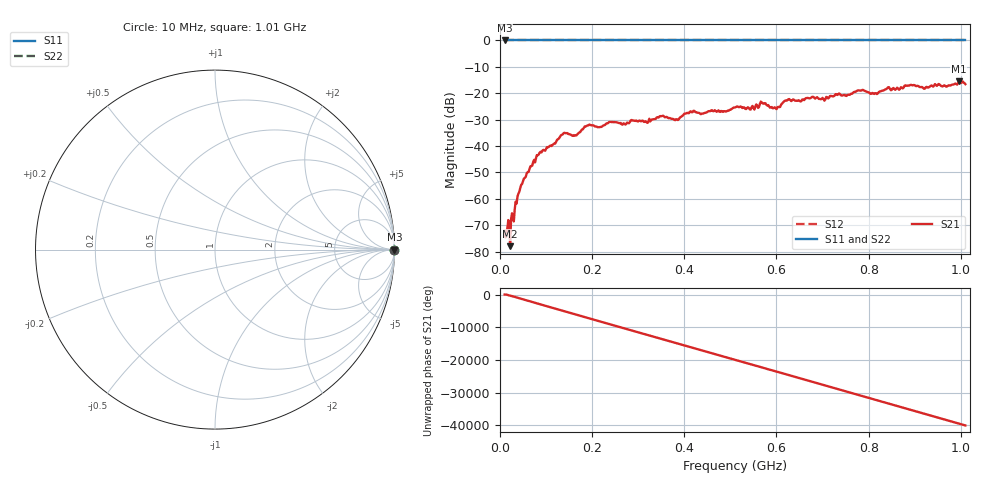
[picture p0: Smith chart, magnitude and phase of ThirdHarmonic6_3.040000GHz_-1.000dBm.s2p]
! 8/17/2025 8:48:10 AM
! C:\ANRITSUVNA\TEMP\TEMP.S2P
! CHANNEL.1
! TR.MEASUREMENT
! RAW.DATA
! RF.CORRECTION.OFF
! AVERAGING.OFF
! IF.BANDWIDTH: 5KHZ
! SWEEPTYPE:  FREQ.SWEEP(Linear)
! Reference Plane Port Info
! PORT:  PORT1  PORT2
! DISTANCE:  0  m  0  m
! TIME:  0  s  0  s
! PHASE.OFFSET:  0  deg.  0  deg.
! LOSS:  0  dB  0  dB
! REF.LOSS:  0  dB  0  dB
! REF.FREQ:  0  Hz  0  Hz
! Power Info
! POWER:  -20  dBm  -20  dBm
! EFF.POWER:  -20  dBm  -20  dBm
! SOURCE.ATTEN:  0  dB  0  dB
! TEST.ATTEN:  0  dB  0  dB
# GHZ S RI R 50.0
! FREQ.GHZ  S11RE  S11IM  S21RE  S21IM  S12RE  S12IM  S22RE  S22IM
!; PortSelection: Port_12
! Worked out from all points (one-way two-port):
!   501 points, 10 MHz to 1.01 GHz, reference 50 ohm
!   highest |S21| = -15.41 dB at 996 MHz (marker M1); lowest = -77.9 dB at 22 MHz (marker M2)
!   lowest |S11| = 0.0 dB at 10 MHz (marker M3)
!   |S11| at or under -10 dB: nowhere
!   |S22| runs from 0.0 to 0.0 dB; largest |S21 - S12| = 1.2
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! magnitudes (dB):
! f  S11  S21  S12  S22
! 10 MHz  0.0  -72.1  0.0  0.0
! 22 MHz  0.0  -77.9  0.0  0.0
! 26 MHz  0.0  -65.5  0.0  0.0
! 36 MHz  0.0  -61.8  0.0  0.0
! 48 MHz  0.0  -54.3  0.0  0.0
! 84 MHz  0.0  -43.2  0.0  0.0
! 136 MHz  0.0  -35.6  0.0  0.0
! 162 MHz  0.0  -36.1  0.0  0.0
! 178 MHz  0.0  -33.7  0.0  0.0
! 344 MHz  0.0  -29.2  0.0  0.0
! 384 MHz  0.0  -29.9  0.0  0.0
! 416 MHz  0.0  -27.2  0.0  0.0
! 510 MHz  0.0  -25.4  0.0  0.0
! 570 MHz  0.0  -23.8  0.0  0.0
! 596 MHz  0.0  -25.3  0.0  0.0
! 624 MHz  0.0  -22.6  0.0  0.0
! 678 MHz  0.0  -21.3  0.0  0.0
! 784 MHz  0.0  -19.0  0.0  0.0
! 816 MHz  0.0  -20.0  0.0  0.0
! 844 MHz  0.0  -17.7  0.0  0.0
! 996 MHz  0.0  -15.4  0.0  0.0
! 1.01 GHz  0.0  -16.6  0.0  0.0
